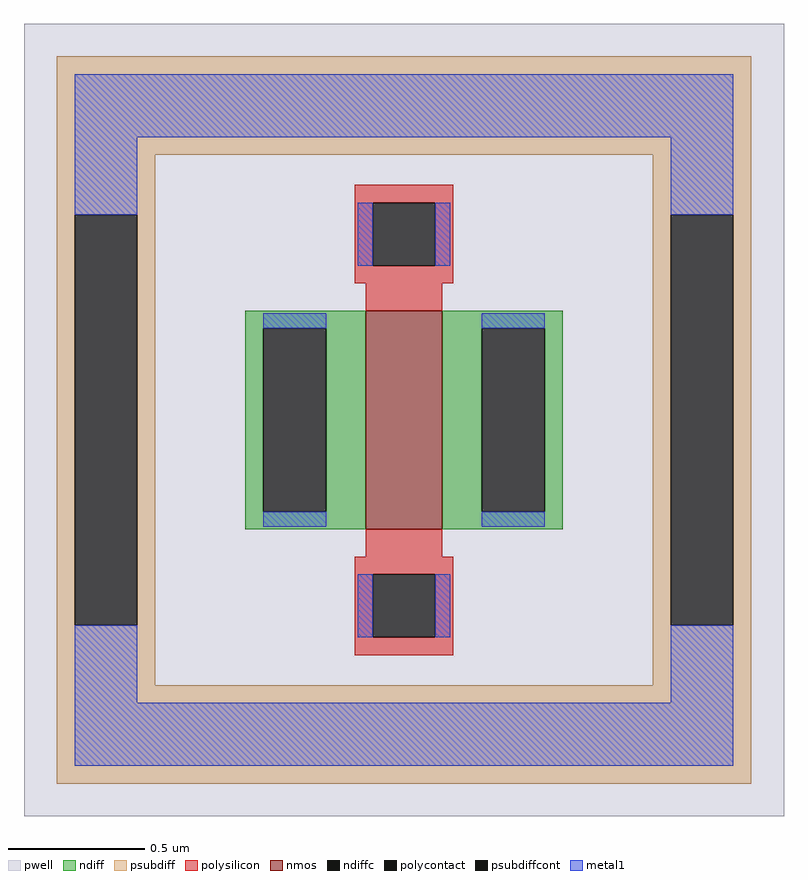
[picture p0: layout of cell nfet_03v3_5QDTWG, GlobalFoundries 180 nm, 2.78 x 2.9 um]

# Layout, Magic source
magic
tech gf180mcuD
magscale 1 10
<< pwell >>
rect -278 -290 278 290
<< nmos >>
rect -28 -80 28 80
<< ndiff >>
rect -116 67 -28 80
rect -116 -67 -103 67
rect -57 -67 -28 67
rect -116 -80 -28 -67
rect 28 67 116 80
rect 28 -67 57 67
rect 103 -67 116 67
rect 28 -80 116 -67
<< ndiffc >>
rect -103 -67 -57 67
rect 57 -67 103 67
<< psubdiff >>
rect -254 194 254 266
rect -254 150 -182 194
rect -254 -150 -241 150
rect -195 -150 -182 150
rect 182 150 254 194
rect -254 -194 -182 -150
rect 182 -150 195 150
rect 241 -150 254 150
rect 182 -194 254 -150
rect -254 -266 254 -194
<< psubdiffcont >>
rect -241 -150 -195 150
rect 195 -150 241 150
<< polysilicon >>
rect -36 159 36 172
rect -36 113 -23 159
rect 23 113 36 159
rect -36 100 36 113
rect -28 80 28 100
rect -28 -100 28 -80
rect -36 -113 36 -100
rect -36 -159 -23 -113
rect 23 -159 36 -113
rect -36 -172 36 -159
<< polycontact >>
rect -23 113 23 159
rect -23 -159 23 -113
<< metal1 >>
rect -241 207 241 253
rect -241 150 -195 207
rect -34 113 -23 159
rect 23 113 34 159
rect 195 150 241 207
rect -103 67 -57 78
rect -103 -78 -57 -67
rect 57 67 103 78
rect 57 -78 103 -67
rect -241 -207 -195 -150
rect -34 -159 -23 -113
rect 23 -159 34 -113
rect 195 -207 241 -150
rect -241 -253 241 -207
<< properties >>
string FIXED_BBOX -218 -230 218 230
string gencell nfet_03v3
string library gf180mcu
string parameters w 0.8 l 0.28 m 1 nf 1 diffcov 100 polycov 100 guard 1 glc 1 grc 1 gtc 0 gbc 0 tbcov 100 rlcov 100 topc 1 botc 1 poverlap 0 doverlap 1 lmin 0.28 wmin 0.22 class mosfet full_metal 1 compatible {nfet_03v3 nfet_06v0 nfet_06v0_nvt} ad {int((nf+1)/2) * W/nf * 0.18u} as {int((nf+2)/2) * W/nf * 0.18u} pd {2*int((nf+1)/2) * (W/nf + 0.18u)} ps {2*int((nf+2)/2) * (W/nf + 0.18u)} nrd {0.18u / W} nrs {0.18u / W} sa 0 sb 0 sd 0
<< end >>
